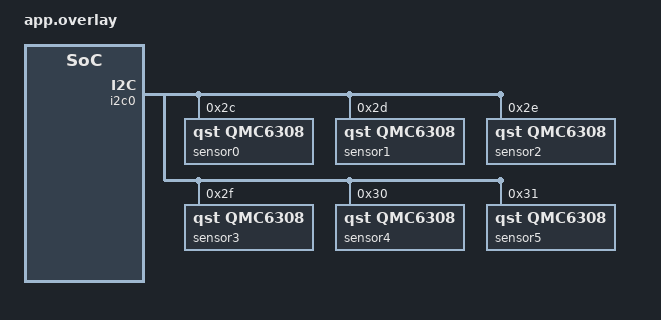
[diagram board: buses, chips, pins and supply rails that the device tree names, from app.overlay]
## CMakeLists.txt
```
# SPDX-FileCopyrightText: Copyright The Zephyr Project Contributors
# SPDX-License-Identifier: Apache-2.0

cmake_minimum_required(VERSION 3.28.0)
find_package(Zephyr REQUIRED HINTS $ENV{ZEPHYR_BASE})
project(qmc6308)
target_sources(app PRIVATE src/main.c)
```

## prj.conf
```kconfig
# SPDX-FileCopyrightText: Copyright The Zephyr Project Contributors
# SPDX-License-Identifier: Apache-2.0

CONFIG_ZTEST=y
CONFIG_SENSOR=y
CONFIG_EMUL=y
CONFIG_I2C=y
```

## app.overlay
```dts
/*
 * SPDX-FileCopyrightText: Copyright The Zephyr Project Contributors
 * SPDX-License-Identifier: Apache-2.0
 */

&i2c0 {
	sensor0: magnetometer@2c {
		compatible = "qst,qmc6308";
		reg = <0x2c>;
		full-scale = <30>;
		sampling-frequency = <10>;
	};

	sensor1: magnetometer@2d {
		compatible = "qst,qmc6308";
		reg = <0x2d>;
		full-scale = <12>;
		sampling-frequency = <50>;
	};

	sensor2: magnetometer@2e {
		compatible = "qst,qmc6308";
		reg = <0x2e>;
		full-scale = <8>;
		sampling-frequency = <100>;
	};

	sensor3: magnetometer@2f {
		compatible = "qst,qmc6308";
		reg = <0x2f>;
		full-scale = <2>;
		sampling-frequency = <200>;
	};

	sensor4: magnetometer@30 {
		compatible = "qst,qmc6308";
		reg = <0x30>;
		full-scale = <30>;
		sampling-frequency = <10>;
	};

	sensor5: magnetometer@31 {
		compatible = "qst,qmc6308";
		reg = <0x31>;
		full-scale = <30>;
		sampling-frequency = <10>;
	};
};
```

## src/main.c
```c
/*
 * SPDX-FileCopyrightText: Copyright The Zephyr Project Contributors
 * SPDX-License-Identifier: Apache-2.0
 */

#define DT_DRV_COMPAT qst_qmc6308

#include <string.h>
#include <zephyr/drivers/emul.h>
#include <zephyr/drivers/i2c_emul.h>
#include <zephyr/drivers/sensor.h>
#include <zephyr/sys/byteorder.h>
#include <zephyr/ztest.h>

struct qmc6308_emul_data {
	uint8_t regs[0x30];
	int fail_reg;
};

struct qmc6308_emul_config {
	uint16_t address;
};

static int emul_init(const struct emul *emul, const struct device *parent)
{
	struct qmc6308_emul_data *data = emul->data;
	const struct qmc6308_emul_config *config = emul->cfg;

	ARG_UNUSED(parent);
	data->fail_reg = -1;
	data->regs[0] = (config->address == 0x30U) ? 0xffU : 0x80U;
	data->regs[9] = (config->address == 0x31U) ? 0U : 0x18U;
	return 0;
}

static int emul_transfer(const struct emul *emul, struct i2c_msg *msgs, int num_msgs, int addr)
{
	struct qmc6308_emul_data *data = emul->data;
	uint8_t reg;

	ARG_UNUSED(addr);
	if ((num_msgs < 1) || (num_msgs > 2) || (msgs[0].len < 1U) ||
	    ((msgs[0].flags & I2C_MSG_READ) != 0U)) {
		return -EIO;
	}
	reg = msgs[0].buf[0];
	if ((reg >= sizeof(data->regs)) || (reg == data->fail_reg)) {
		return -EIO;
	}
	if ((num_msgs == 1) && (msgs[0].len == 2U)) {
		if ((reg == 0x0bU) && (msgs[0].buf[1] == 0x80U)) {
			memset(data->regs, 0, sizeof(data->regs));
			emul_init(emul, NULL);
		}
		data->regs[reg] = msgs[0].buf[1];
		return 0;
	}
	if ((num_msgs == 2) && (msgs[0].len == 1U) && ((msgs[1].flags & I2C_MSG_READ) != 0U) &&
	    ((reg + msgs[1].len) <= sizeof(data->regs))) {
		memcpy(msgs[1].buf, &data->regs[reg], msgs[1].len);
		if (reg == 9U) {
			data->regs[9] &= ~0x03U;
		}
		return 0;
	}
	return -EIO;
}

static const struct i2c_emul_api emul_api = {
	.transfer = emul_transfer,
};

#define EMUL_DEFINE(inst)                                                                          \
	static struct qmc6308_emul_data emul_data_##inst;                                          \
	static const struct qmc6308_emul_config emul_config_##inst = {                             \
		.address = DT_INST_REG_ADDR(inst),                                                 \
	};                                                                                         \
	EMUL_DT_INST_DEFINE(inst, emul_init, &emul_data_##inst, &emul_config_##inst, &emul_api,    \
			    NULL);

DT_INST_FOREACH_STATUS_OKAY(EMUL_DEFINE)

static const struct device *const sensors[] = {
	DEVICE_DT_GET(DT_NODELABEL(sensor0)),
	DEVICE_DT_GET(DT_NODELABEL(sensor1)),
	DEVICE_DT_GET(DT_NODELABEL(sensor2)),
	DEVICE_DT_GET(DT_NODELABEL(sensor3)),
};

static const struct emul *const emulators[] = {
	EMUL_DT_GET(DT_NODELABEL(sensor0)),
	EMUL_DT_GET(DT_NODELABEL(sensor1)),
	EMUL_DT_GET(DT_NODELABEL(sensor2)),
	EMUL_DT_GET(DT_NODELABEL(sensor3)),
};

static void load(size_t index, int16_t x, int16_t y, int16_t z)
{
	struct qmc6308_emul_data *data = emulators[index]->data;

	data->fail_reg = -1;
	data->regs[9] = 0x19;
	sys_put_le16((uint16_t)x, &data->regs[1]);
	sys_put_le16((uint16_t)y, &data->regs[3]);
	sys_put_le16((uint16_t)z, &data->regs[5]);
}

static int64_t microgauss(const struct sensor_value *value)
{
	return (int64_t)value->val1 * 1000000 + value->val2;
}

ZTEST(qmc6308, test_initialization)
{
	for (size_t i = 0U; i < ARRAY_SIZE(sensors); i++) {
		struct qmc6308_emul_data *data = emulators[i]->data;

		zassert_true(device_is_ready(sensors[i]));
		zassert_equal(data->regs[0x0a], 0xc1U | (i << 2));
		zassert_equal(data->regs[0x0b], i << 2);
		zassert_equal(data->regs[0x0d], 0x40U);
	}
	zassert_false(device_is_ready(DEVICE_DT_GET(DT_NODELABEL(sensor4))));
	zassert_false(device_is_ready(DEVICE_DT_GET(DT_NODELABEL(sensor5))));
}

ZTEST(qmc6308, test_ranges_and_signed_data)
{
	const int16_t counts[] = {1000, 2500, 3750, 15000};
	struct sensor_value value[3];

	for (size_t i = 0U; i < ARRAY_SIZE(sensors); i++) {
		load(i, counts[i], -counts[i], 0);
		zassert_ok(sensor_sample_fetch(sensors[i]));
		zassert_ok(sensor_channel_get(sensors[i], SENSOR_CHAN_MAGN_XYZ, value));
		zassert_equal(microgauss(&value[0]), 1000000);
		zassert_equal(microgauss(&value[1]), -1000000);
		zassert_equal(microgauss(&value[2]), 0);
	}
}

ZTEST(qmc6308, test_limits_and_fraction)
{
	struct sensor_value value[3];

	load(0, -32768, 32767, -1);
	zassert_ok(sensor_sample_fetch(sensors[0]));
	zassert_ok(sensor_channel_get(sensors[0], SENSOR_CHAN_MAGN_XYZ, value));
	zassert_equal(microgauss(&value[0]), -32768000);
	zassert_equal(microgauss(&value[1]), 32767000);
	zassert_equal(microgauss(&value[2]), -1000);
	zassert_ok(sensor_channel_get(sensors[0], SENSOR_CHAN_MAGN_Z, value));
	zassert_equal(microgauss(&value[0]), -1000);
}

ZTEST(qmc6308, test_status_read_to_clear)
{
	struct qmc6308_emul_data *data = emulators[0]->data;

	load(0, 100, 200, 300);
	zassert_ok(sensor_sample_fetch(sensors[0]));
	zassert_equal(sensor_sample_fetch(sensors[0]), -EAGAIN);
	data->regs[9] = 0x1b;
	zassert_equal(sensor_sample_fetch(sensors[0]), -ERANGE);
	zassert_equal(sensor_sample_fetch(sensors[0]), -EAGAIN);
}

ZTEST(qmc6308, test_i2c_errors_preserve_sample)
{
	struct qmc6308_emul_data *data = emulators[0]->data;
	struct sensor_value value;

	load(0, 1000, 2000, 3000);
	zassert_ok(sensor_sample_fetch(sensors[0]));
	load(0, 1, 2, 3);
	data->fail_reg = 9;
	zassert_equal(sensor_sample_fetch(sensors[0]), -EIO);
	data->fail_reg = 1;
	zassert_equal(sensor_sample_fetch(sensors[0]), -EIO);
	zassert_ok(sensor_channel_get(sensors[0], SENSOR_CHAN_MAGN_X, &value));
	zassert_equal(microgauss(&value), 1000000);
	data->fail_reg = -1;
}

ZTEST(qmc6308, test_unsupported_channels)
{
	struct sensor_value value;

	zassert_equal(sensor_sample_fetch_chan(sensors[0], SENSOR_CHAN_LIGHT), -ENOTSUP);
	zassert_equal(sensor_channel_get(sensors[0], SENSOR_CHAN_LIGHT, &value), -ENOTSUP);
}

ZTEST_SUITE(qmc6308, NULL, NULL, NULL, NULL, NULL);
```
